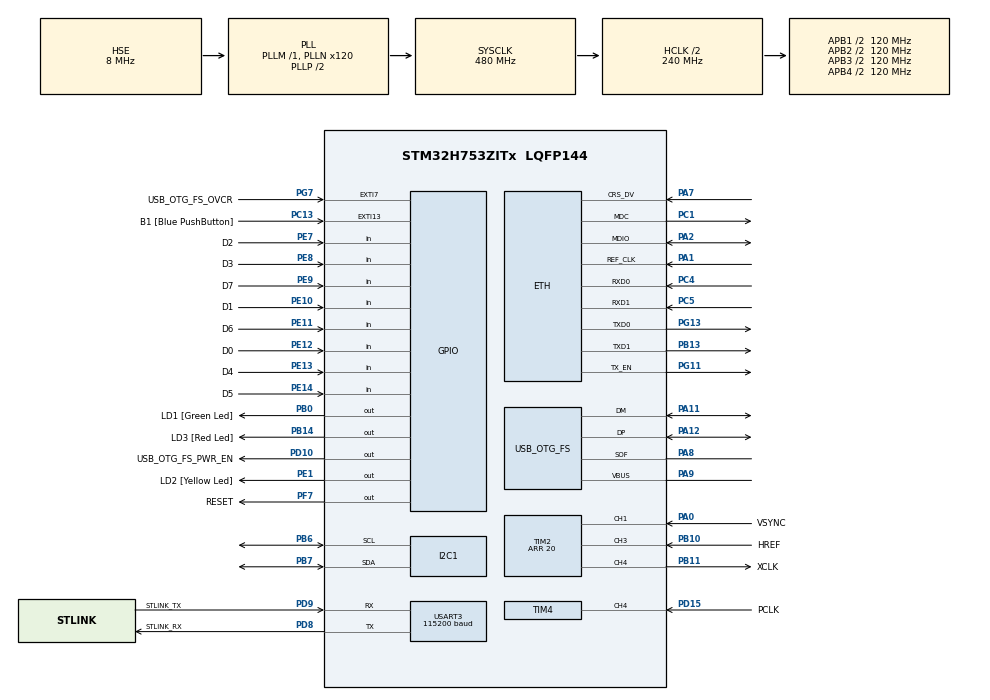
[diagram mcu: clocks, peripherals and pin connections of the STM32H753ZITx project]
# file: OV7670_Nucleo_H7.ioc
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CORTEX_M7.AccessPermission-Cortex_Memory_Protection_Unit_Region0_Settings=MPU_REGION_NO_ACCESS
CORTEX_M7.AccessPermission-Cortex_Memory_Protection_Unit_Region1_Settings=MPU_REGION_FULL_ACCESS
CORTEX_M7.AccessPermission-Cortex_Memory_Protection_Unit_Region2_Settings=MPU_REGION_FULL_ACCESS
CORTEX_M7.BaseAddress-Cortex_Memory_Protection_Unit_Region0_Settings=0x0
CORTEX_M7.BaseAddress-Cortex_Memory_Protection_Unit_Region1_Settings=0x30005000
CORTEX_M7.BaseAddress-Cortex_Memory_Protection_Unit_Region2_Settings=0x30000000
CORTEX_M7.CPU_DCache=Enabled
CORTEX_M7.CPU_ICache=Enabled
CORTEX_M7.DisableExec-Cortex_Memory_Protection_Unit_Region0_Settings=MPU_INSTRUCTION_ACCESS_DISABLE
CORTEX_M7.DisableExec-Cortex_Memory_Protection_Unit_Region1_Settings=MPU_INSTRUCTION_ACCESS_DISABLE
CORTEX_M7.DisableExec-Cortex_Memory_Protection_Unit_Region2_Settings=MPU_INSTRUCTION_ACCESS_DISABLE
CORTEX_M7.Enable-Cortex_Memory_Protection_Unit_Region0_Settings=MPU_REGION_ENABLE
CORTEX_M7.Enable-Cortex_Memory_Protection_Unit_Region1_Settings=MPU_REGION_ENABLE
CORTEX_M7.Enable-Cortex_Memory_Protection_Unit_Region2_Settings=MPU_REGION_ENABLE
CORTEX_M7.IsBufferable-Cortex_Memory_Protection_Unit_Region2_Settings=MPU_ACCESS_BUFFERABLE
CORTEX_M7.IsShareable-Cortex_Memory_Protection_Unit_Region0_Settings=MPU_ACCESS_SHAREABLE
CORTEX_M7.IsShareable-Cortex_Memory_Protection_Unit_Region2_Settings=MPU_ACCESS_SHAREABLE
CORTEX_M7.MPU_Control=MPU_PRIVILEGED_DEFAULT
CORTEX_M7.Size-Cortex_Memory_Protection_Unit_Region0_Settings=MPU_REGION_SIZE_4GB
CORTEX_M7.Size-Cortex_Memory_Protection_Unit_Region1_Settings=MPU_REGION_SIZE_16KB
CORTEX_M7.Size-Cortex_Memory_Protection_Unit_Region2_Settings=MPU_REGION_SIZE_256B
CORTEX_M7.SubRegionDisable-Cortex_Memory_Protection_Unit_Region0_Settings=0x87
CORTEX_M7.TypeExtField-Cortex_Memory_Protection_Unit_Region0_Settings=MPU_TEX_LEVEL0
CORTEX_M7.TypeExtField-Cortex_Memory_Protection_Unit_Region1_Settings=MPU_TEX_LEVEL1
ETH.ETH_RX_DESC_CNT=4
ETH.ETH_TX_DESC_CNT=4
ETH.MACAddr=00\:80\:E1\:00\:00\:00
ETH.MediaInterface=HAL_ETH_RMII_MODE
ETH.RxBuffAddress=0x30040200
ETH.RxBuffLen=1536
ETH.RxDescAddress=0x30000000
ETH.TxDescAddress=0x30000080
FREERTOS.BinarySemaphores01=OV7670BinarySemaphore,Dynamic,NULL
FREERTOS.Tasks01=defaultTask,24,1024,StartDefaultTask,Default,NULL,Dynamic,NULL,NULL;UserButtonTask,39,128,User_Button_Activity,Default,NULL,Dynamic,NULL,NULL;OV7670Task,40,128,OV7670_Image_Sensor,Default,NULL,Dynamic,NULL,NULL
FREERTOS.configCHECK_FOR_STACK_OVERFLOW=1
FREERTOS.configTICK_RATE_HZ=100
FREERTOS.configUSE_NEWLIB_REENTRANT=1
FREERTOS.configUSE_OS2_MUTEX=1
FREERTOS.configUSE_OS2_TIMER=0
I2C1.Analog_Filter=I2C_ANALOGFILTER_ENABLE
I2C1.I2C_Coeff_DF=15
I2C1.Timing=0x20303D54
LWIP.BSP.number=1
LWIP.GATEWAY_ADDRESS=192.168.008.003
LWIP.IP_ADDRESS=192.168.008.002
LWIP.LWIP_DHCP=0
LWIP.LWIP_DISABLE_TCP_SANITY_CHECKS=1
LWIP.LWIP_RAM_HEAP_POINTER=0x30005000
LWIP.MEM_SIZE=16360
LWIP.NETMASK_ADDRESS=255.255.255.000
LWIP.PBUF_POOL_BUFSIZE=640
LWIP.TCP_MSS=1460
LWIP.TCP_SND_BUF=5840
LWIP.TCP_SND_QUEUELEN=16
LWIP.Version=v2.1.2_Cube
LWIP0.BSP.STBoard=false
LWIP0.BSP.api=BSP_COMPONENT_DRIVER
LWIP0.BSP.component=LAN8742
LWIP0.BSP.instance=LAN8742
LWIP0.BSP.name=Driver_PHY
LWIP0.BSP.semaphore=S_LAN8742
LWIP0.BSP.solution=LAN8742
Mcu.Family=STM32H7
Mcu.Name=STM32H753ZITx
Mcu.Package=LQFP144
NVIC.ETH_IRQn=true\:5\:0\:true\:false\:true\:true\:true\:true\:true
NVIC.EXTI15_10_IRQn=true\:2\:0\:true\:false\:true\:false\:true\:true\:true
NVIC.PriorityGroup=NVIC_PRIORITYGROUP_4
NVIC.TIM2_IRQn=true\:1\:0\:true\:false\:true\:false\:true\:true\:true
NVIC.TIM7_IRQn=true\:15\:0\:true\:false\:true\:false\:false\:true\:true
NVIC.TimeBase=TIM7_IRQn
NVIC.TimeBaseIP=TIM7
PA0.GPIO_Label=VSYNC
PA0.GPIO_Speed=GPIO_SPEED_FREQ_VERY_HIGH
PA0.Signal=S_TIM2_CH1_ETR
PA1.GPIO_Speed=GPIO_SPEED_FREQ_VERY_HIGH
PA1.Mode=RMII
PA1.Signal=ETH_REF_CLK
PA11.Mode=Device_Only
PA11.Signal=USB_OTG_FS_DM
PA12.Mode=Device_Only
PA12.Signal=USB_OTG_FS_DP
PA13\ (JTMS/SWDIO).Mode=Trace_Asynchronous_SW
PA13\ (JTMS/SWDIO).Signal=DEBUG_JTMS-SWDIO
PA14\ (JTCK/SWCLK).Mode=Trace_Asynchronous_SW
PA14\ (JTCK/SWCLK).Signal=DEBUG_JTCK-SWCLK
PA2.GPIO_Speed=GPIO_SPEED_FREQ_VERY_HIGH
PA2.Mode=RMII
PA2.Signal=ETH_MDIO
PA7.GPIO_Speed=GPIO_SPEED_FREQ_VERY_HIGH
PA7.Mode=RMII
PA7.Signal=ETH_CRS_DV
PA8.Mode=Activate_SOF_FS
PA8.Signal=USB_OTG_FS_SOF
PA9.Mode=Activate_VBUS
PA9.Signal=USB_OTG_FS_VBUS
PB0.GPIO_Label=LD1 [Green Led]
PB0.Signal=GPIO_Output
PB10.GPIO_Label=HREF
PB10.GPIO_Speed=GPIO_SPEED_FREQ_VERY_HIGH
PB10.Signal=S_TIM2_CH3
PB11.GPIO_Label=XCLK
PB11.GPIO_Speed=GPIO_SPEED_FREQ_VERY_HIGH
PB11.Signal=S_TIM2_CH4
PB13.GPIO_Speed=GPIO_SPEED_FREQ_VERY_HIGH
PB13.Mode=RMII
PB13.Signal=ETH_TXD1
PB14.GPIO_Label=LD3 [Red Led]
PB14.Signal=GPIO_Output
PB3\ (JTDO/TRACESWO).Mode=Trace_Asynchronous_SW
PB3\ (JTDO/TRACESWO).Signal=DEBUG_JTDO-SWO
PB6.GPIO_Speed=GPIO_SPEED_FREQ_HIGH
PB6.Mode=I2C
PB6.Signal=I2C1_SCL
PB7.GPIO_Speed=GPIO_SPEED_FREQ_HIGH
PB7.Mode=I2C
PB7.Signal=I2C1_SDA
PC1.GPIO_Speed=GPIO_SPEED_FREQ_VERY_HIGH
PC1.Mode=RMII
PC1.Signal=ETH_MDC
PC13.GPIO_Label=B1 [Blue PushButton]
PC13.Signal=GPXTI13
PC14-OSC32_IN\ (OSC32_IN).Mode=LSE-External-Oscillator
PC14-OSC32_IN\ (OSC32_IN).Signal=RCC_OSC32_IN
PC15-OSC32_OUT\ (OSC32_OUT).Mode=LSE-External-Oscillator
PC15-OSC32_OUT\ (OSC32_OUT).Signal=RCC_OSC32_OUT
PC4.GPIO_Speed=GPIO_SPEED_FREQ_VERY_HIGH
PC4.Mode=RMII
PC4.Signal=ETH_RXD0
PC5.GPIO_Speed=GPIO_SPEED_FREQ_VERY_HIGH
PC5.Mode=RMII
PC5.Signal=ETH_RXD1
PD10.GPIO_Label=USB_OTG_FS_PWR_EN
PD10.Signal=GPIO_Output
PD15.GPIO_Label=PCLK
PD15.GPIO_Speed=GPIO_SPEED_FREQ_VERY_HIGH
PD15.Signal=S_TIM4_CH4
PD8.GPIO_Label=STLINK_RX
PD8.Mode=Asynchronous
PD8.Signal=USART3_TX
PD9.GPIO_Label=STLINK_TX
PD9.Mode=Asynchronous
PD9.Signal=USART3_RX
PE1.GPIO_Label=LD2 [Yellow Led]
PE1.Signal=GPIO_Output
PE10.GPIO_Label=D1
PE10.Signal=GPIO_Input
PE11.GPIO_Label=D6
PE11.Signal=GPIO_Input
PE12.GPIO_Label=D0
PE12.Signal=GPIO_Input
PE13.GPIO_Label=D4
PE13.Signal=GPIO_Input
PE14.GPIO_Label=D5
PE14.Signal=GPIO_Input
PE7.GPIO_Label=D2
PE7.Signal=GPIO_Input
PE8.GPIO_Label=D3
PE8.Signal=GPIO_Input
PE9.GPIO_Label=D7
PE9.Signal=GPIO_Input
PF7.GPIO_Label=RESET
PF7.GPIO_ModeDefaultOutputPP=GPIO_MODE_OUTPUT_OD
PF7.GPIO_PuPd=GPIO_PULLUP
PF7.GPIO_Speed=GPIO_SPEED_FREQ_MEDIUM
PF7.PinState=GPIO_PIN_SET
PF7.Signal=GPIO_Output
PG11.GPIO_Speed=GPIO_SPEED_FREQ_VERY_HIGH
PG11.Mode=RMII
PG11.Signal=ETH_TX_EN
PG13.GPIO_Speed=GPIO_SPEED_FREQ_VERY_HIGH
PG13.Mode=RMII
PG13.Signal=ETH_TXD0
PG7.GPIO_Label=USB_OTG_FS_OVCR
PG7.Signal=GPXTI7
PH0-OSC_IN\ (PH0).Mode=HSE-External-Clock-Source
PH0-OSC_IN\ (PH0).Signal=RCC_OSC_IN
PH1-OSC_OUT\ (PH1).Signal=RCC_OSC_OUT
ProjectManager.HeapSize=0x200
ProjectManager.StackSize=0x400
ProjectManager.TargetToolchain=STM32CubeIDE
RCC.ADCFreq_Value=16125000
RCC.APB1Freq_Value=120000000
RCC.APB2Freq_Value=120000000
RCC.APB3Freq_Value=120000000
RCC.APB4Freq_Value=120000000
RCC.CortexFreq_Value=480000000
RCC.D1PPRE=RCC_APB3_DIV2
RCC.D2PPRE1=RCC_APB1_DIV2
RCC.D2PPRE2=RCC_APB2_DIV2
RCC.D3PPRE=RCC_APB4_DIV2
RCC.DIVM1=1
RCC.DIVM3=2
RCC.DIVN1=120
RCC.DIVN3=48
RCC.DIVQ1=15
RCC.DIVR3=4
RCC.HCLKFreq_Value=240000000
RCC.HPRE=RCC_HCLK_DIV2
RCC.HSE_VALUE=8000000
RCC.I2C123CLockSelection=RCC_I2C123CLKSOURCE_PLL3
RCC.PLLFRACN=0
RCC.PWR_Regulator_Voltage_Scale=PWR_REGULATOR_VOLTAGE_SCALE0
RCC.SYSCLKFreq_VALUE=480000000
RCC.SYSCLKSource=RCC_SYSCLKSOURCE_PLLCLK
RCC.USBFreq_Value=64000000
SH.S_TIM2_CH1_ETR.0=TIM2_CH1,Input_Capture1_from_TI1
SH.S_TIM2_CH3.0=TIM2_CH3,Input_Capture3_from_TI3
SH.S_TIM2_CH4.0=TIM2_CH4,PWM Generation4 CH4
SH.S_TIM4_CH4.0=TIM4_CH4,Input_Capture4_from_TI4
TIM2.Channel-Input_Capture1_from_TI1=TIM_CHANNEL_1
TIM2.Channel-Input_Capture3_from_TI3=TIM_CHANNEL_3
TIM2.Channel-PWM\ Generation4\ CH4=TIM_CHANNEL_4
TIM2.ICFilter_CH1=3
TIM2.ICFilter_CH3=3
TIM2.OCMode_PWM-PWM\ Generation4\ CH4=TIM_OCMODE_PWM2
TIM2.Period=20
TIM2.Pulse-PWM\ Generation4\ CH4=10
TIM4.Channel-Input_Capture4_from_TI4=TIM_CHANNEL_4
TIM4.ICFilter_CH4=2
TIM4.Prescaler=480
USART3.AutoBaudRateEnableParam=UART_ADVFEATURE_AUTOBAUDRATE_DISABLE
USART3.BaudRate=115200
USART3.ClockPrescaler=PRESCALER_DIV1
USART3.DMADisableonRxErrorParam=ADVFEATURE_DMA_ENABLEONRXERROR
USART3.DataInvertParam=ADVFEATURE_DATAINV_DISABLE
USART3.FIFOMode=FIFOMODE_DISABLE
USART3.MSBFirstParam=ADVFEATURE_MSBFIRST_DISABLE
USART3.Mode=MODE_TX_RX
USART3.OneBitSampling=UART_ONE_BIT_SAMPLE_DISABLE
USART3.OverSampling=UART_OVERSAMPLING_16
USART3.OverrunDisableParam=ADVFEATURE_OVERRUN_ENABLE
USART3.Parity=PARITY_NONE
USART3.RXFIFOThreshold=RXFIFO_THRESHOLD_1EIGHTHFULL
USART3.RxPinLevelInvertParam=ADVFEATURE_RXINV_DISABLE
USART3.StopBits=STOPBITS_1
USART3.SwapParam=ADVFEATURE_SWAP_DISABLE
USART3.TXFIFOThreshold=TXFIFO_THRESHOLD_1EIGHTHFULL
USART3.TxPinLevelInvertParam=ADVFEATURE_TXINV_DISABLE
USART3.VirtualMode-Asynchronous=VM_ASYNC
USART3.WordLength=WORDLENGTH_8B
USB_OTG_FS.Sof_enable=ENABLE
USB_OTG_FS.VirtualMode=Device_Only
USB_OTG_FS.battery_charging_enable=ENABLE
USB_OTG_FS.low_power_enable=DISABLE
USB_OTG_FS.lpm_enable=DISABLE
USB_OTG_FS.use_dedicated_ep1=DISABLE
USB_OTG_FS.vbus_sensing_enable=ENABLE
VP_FREERTOS_VS_CMSIS_V2.Mode=CMSIS_V2
VP_LWIP_VS_Enabled.Mode=Enabled
VP_SYS_VS_tim7.Mode=TIM7
VP_TIM2_VS_ClockSourceINT.Mode=Internal
VP_TIM4_VS_ClockSourceINT.Mode=Internal
board=NUCLEO-H753ZI

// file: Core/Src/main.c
/* USER CODE BEGIN Header */
/**
  ******************************************************************************
  * @file           : main.c
  * @brief          : Main program body
  ******************************************************************************
  * @attention
  *
  * Copyright (c) 2025 STMicroelectronics.
  * All rights reserved.
  *
  * This software is licensed under terms that can be found in the LICENSE file
  * in the root directory of this software component.
  * If no LICENSE file comes with this software, it is provided AS-IS.
  *
  ******************************************************************************
  */
/* USER CODE END Header */
#include "main.h"
#include "cmsis_os.h"
#include "lwip.h"

/* USER CODE BEGIN Includes */
#include "TCP_Server.h"
/* USER CODE END Includes */

I2C_HandleTypeDef hi2c1;

TIM_HandleTypeDef htim2;

UART_HandleTypeDef huart3;

PCD_HandleTypeDef hpcd_USB_OTG_FS;

/* Definitions for defaultTask */
osThreadId_t defaultTaskHandle;
const osThreadAttr_t defaultTask_attributes = {
  .name = "defaultTask",
  .stack_size = 1024 * 4,
  .priority = (osPriority_t) osPriorityNormal,
};
/* Definitions for UserButtonTask */
osThreadId_t UserButtonTaskHandle;
const osThreadAttr_t UserButtonTask_attributes = {
  .name = "UserButtonTask",
  .stack_size = 128 * 4,
  .priority = (osPriority_t) osPriorityAboveNormal7,
};
/* Definitions for OV7670Task */
osThreadId_t OV7670TaskHandle;
const osThreadAttr_t OV7670Task_attributes = {
  .name = "OV7670Task",
  .stack_size = 128 * 4,
  .priority = (osPriority_t) osPriorityHigh,
};
/* Definitions for OV7670BinarySemaphore */
osSemaphoreId_t OV7670BinarySemaphoreHandle;
const osSemaphoreAttr_t OV7670BinarySemaphore_attributes = {
  .name = "OV7670BinarySemaphore"
};
/* USER CODE BEGIN PV */
enum USER_BUTTON_STATE User_Button_State = USR_BTN_UNPRESSED;
/* USER CODE END PV */

void SystemClock_Config(void);
static void MPU_Config(void);
static void MX_GPIO_Init(void);
static void MX_USART3_UART_Init(void);
static void MX_USB_OTG_FS_PCD_Init(void);
static void MX_TIM4_Init(void);
static void MX_TIM2_Init(void);
static void MX_I2C1_Init(void);
void StartDefaultTask(void *argument);
void User_Button_Activity(void *argument);
void OV7670_Image_Sensor(void *argument);

int main(void)
{

  /* MPU Configuration--------------------------------------------------------*/
  MPU_Config();

  /* Enable the CPU Cache */

  /* Enable I-Cache---------------------------------------------------------*/
  SCB_EnableICache();

  /* Enable D-Cache---------------------------------------------------------*/
  SCB_EnableDCache();

  /* MCU Configuration--------------------------------------------------------*/

  /* Reset of all peripherals, Initializes the Flash interface and the Systick. */
  HAL_Init();

  /* USER CODE BEGIN Init */
  //HAL_Delay(1000);
  /* USER CODE END Init */

  /* Configure the system clock */
  SystemClock_Config();

  /* USER CODE BEGIN SysInit */
  HAL_Delay(2000);
  /* USER CODE END SysInit */

  /* Initialize all configured peripherals */
  MX_GPIO_Init();
  MX_USART3_UART_Init();
  MX_USB_OTG_FS_PCD_Init();
  MX_TIM4_Init();
  MX_TIM2_Init();
  MX_I2C1_Init();
  /* USER CODE BEGIN 2 */
  LL_TIM_EnableCounter(TIM4);		// Set TIMx_CR1 CEN bit
  HAL_TIM_PWM_Start(&htim2, TIM_CHANNEL_4);
  /* USER CODE END 2 */

  /* Init scheduler */
  osKernelInitialize();

  /* Create the semaphores(s) */
  /* creation of OV7670BinarySemaphore */
  OV7670BinarySemaphoreHandle = osSemaphoreNew(1, 0, &OV7670BinarySemaphore_attributes);

  /* Create the thread(s) */
  /* creation of defaultTask */
  defaultTaskHandle = osThreadNew(StartDefaultTask, NULL, &defaultTask_attributes);

  /* creation of UserButtonTask */
  UserButtonTaskHandle = osThreadNew(User_Button_Activity, NULL, &UserButtonTask_attributes);

  /* creation of OV7670Task */
  OV7670TaskHandle = osThreadNew(OV7670_Image_Sensor, NULL, &OV7670Task_attributes);

  /* Start scheduler */
  osKernelStart();

  /* We should never get here as control is now taken by the scheduler */

  /* Infinite loop */
  while (1)
  {

  }
}

void SystemClock_Config(void)
{
  RCC_OscInitTypeDef RCC_OscInitStruct = {0};
  RCC_ClkInitTypeDef RCC_ClkInitStruct = {0};

  /** Supply configuration update enable
  */
  HAL_PWREx_ConfigSupply(PWR_LDO_SUPPLY);

  /** Configure the main internal regulator output voltage
  */
  __HAL_PWR_VOLTAGESCALING_CONFIG(PWR_REGULATOR_VOLTAGE_SCALE1);

  while(!__HAL_PWR_GET_FLAG(PWR_FLAG_VOSRDY)) {}

  __HAL_RCC_SYSCFG_CLK_ENABLE();
  __HAL_PWR_VOLTAGESCALING_CONFIG(PWR_REGULATOR_VOLTAGE_SCALE0);

  while(!__HAL_PWR_GET_FLAG(PWR_FLAG_VOSRDY)) {}

  /** Initializes the RCC Oscillators according to the specified parameters
  * in the RCC_OscInitTypeDef structure.
  */
  RCC_OscInitStruct.OscillatorType = RCC_OSCILLATORTYPE_HSE;
  RCC_OscInitStruct.HSEState = RCC_HSE_BYPASS;
  RCC_OscInitStruct.PLL.PLLState = RCC_PLL_ON;
  RCC_OscInitStruct.PLL.PLLSource = RCC_PLLSOURCE_HSE;
  RCC_OscInitStruct.PLL.PLLM = 1;
  RCC_OscInitStruct.PLL.PLLN = 120;
  RCC_OscInitStruct.PLL.PLLP = 2;
  RCC_OscInitStruct.PLL.PLLQ = 15;
  RCC_OscInitStruct.PLL.PLLR = 2;
  RCC_OscInitStruct.PLL.PLLRGE = RCC_PLL1VCIRANGE_3;
  RCC_OscInitStruct.PLL.PLLVCOSEL = RCC_PLL1VCOWIDE;
  RCC_OscInitStruct.PLL.PLLFRACN = 0;
  if (HAL_RCC_OscConfig(&RCC_OscInitStruct) != HAL_OK)
  {
    Error_Handler();
  }

  /** Initializes the CPU, AHB and APB buses clocks
  */
  RCC_ClkInitStruct.ClockType = RCC_CLOCKTYPE_HCLK|RCC_CLOCKTYPE_SYSCLK
                              |RCC_CLOCKTYPE_PCLK1|RCC_CLOCKTYPE_PCLK2
                              |RCC_CLOCKTYPE_D3PCLK1|RCC_CLOCKTYPE_D1PCLK1;
  RCC_ClkInitStruct.SYSCLKSource = RCC_SYSCLKSOURCE_PLLCLK;
  RCC_ClkInitStruct.SYSCLKDivider = RCC_SYSCLK_DIV1;
  RCC_ClkInitStruct.AHBCLKDivider = RCC_HCLK_DIV2;
  RCC_ClkInitStruct.APB3CLKDivider = RCC_APB3_DIV2;
  RCC_ClkInitStruct.APB1CLKDivider = RCC_APB1_DIV2;
  RCC_ClkInitStruct.APB2CLKDivider = RCC_APB2_DIV2;
  RCC_ClkInitStruct.APB4CLKDivider = RCC_APB4_DIV2;

  if (HAL_RCC_ClockConfig(&RCC_ClkInitStruct, FLASH_LATENCY_4) != HAL_OK)
  {
    Error_Handler();
  }
}

static void MX_I2C1_Init(void)
{

  hi2c1.Instance = I2C1;
  hi2c1.Init.Timing = 0x20303D54;
  hi2c1.Init.OwnAddress1 = 0;
  hi2c1.Init.AddressingMode = I2C_ADDRESSINGMODE_7BIT;
  hi2c1.Init.DualAddressMode = I2C_DUALADDRESS_DISABLE;
  hi2c1.Init.OwnAddress2 = 0;
  hi2c1.Init.OwnAddress2Masks = I2C_OA2_NOMASK;
  hi2c1.Init.GeneralCallMode = I2C_GENERALCALL_DISABLE;
  hi2c1.Init.NoStretchMode = I2C_NOSTRETCH_DISABLE;
  if (HAL_I2C_Init(&hi2c1) != HAL_OK)
  {
    Error_Handler();
  }

  /** Configure Analogue filter
  */
  if (HAL_I2CEx_ConfigAnalogFilter(&hi2c1, I2C_ANALOGFILTER_ENABLE) != HAL_OK)
  {
    Error_Handler();
  }

  /** Configure Digital filter
  */
  if (HAL_I2CEx_ConfigDigitalFilter(&hi2c1, 15) != HAL_OK)
  {
    Error_Handler();
  }

}

static void MX_TIM2_Init(void)
{

  TIM_ClockConfigTypeDef sClockSourceConfig = {0};
  TIM_MasterConfigTypeDef sMasterConfig = {0};
  TIM_IC_InitTypeDef sConfigIC = {0};
  TIM_OC_InitTypeDef sConfigOC = {0};

  htim2.Instance = TIM2;
  htim2.Init.Prescaler = 0;
  htim2.Init.CounterMode = TIM_COUNTERMODE_UP;
  htim2.Init.Period = 20;
  htim2.Init.ClockDivision = TIM_CLOCKDIVISION_DIV1;
  htim2.Init.AutoReloadPreload = TIM_AUTORELOAD_PRELOAD_DISABLE;
  if (HAL_TIM_Base_Init(&htim2) != HAL_OK)
  {
    Error_Handler();
  }
  sClockSourceConfig.ClockSource = TIM_CLOCKSOURCE_INTERNAL;
  if (HAL_TIM_ConfigClockSource(&htim2, &sClockSourceConfig) != HAL_OK)
  {
    Error_Handler();
  }
  if (HAL_TIM_IC_Init(&htim2) != HAL_OK)
  {
    Error_Handler();
  }
  if (HAL_TIM_PWM_Init(&htim2) != HAL_OK)
  {
    Error_Handler();
  }
  sMasterConfig.MasterOutputTrigger = TIM_TRGO_RESET;
  sMasterConfig.MasterSlaveMode = TIM_MASTERSLAVEMODE_DISABLE;
  if (HAL_TIMEx_MasterConfigSynchronization(&htim2, &sMasterConfig) != HAL_OK)
  {
    Error_Handler();
  }
  sConfigIC.ICPolarity = TIM_INPUTCHANNELPOLARITY_RISING;
  sConfigIC.ICSelection = TIM_ICSELECTION_DIRECTTI;
  sConfigIC.ICPrescaler = TIM_ICPSC_DIV1;
  sConfigIC.ICFilter = 3;
  if (HAL_TIM_IC_ConfigChannel(&htim2, &sConfigIC, TIM_CHANNEL_1) != HAL_OK)
  {
    Error_Handler();
  }
  if (HAL_TIM_IC_ConfigChannel(&htim2, &sConfigIC, TIM_CHANNEL_3) != HAL_OK)
  {
    Error_Handler();
  }
  sConfigOC.OCMode = TIM_OCMODE_PWM2;
  sConfigOC.Pulse = 10;
  sConfigOC.OCPolarity = TIM_OCPOLARITY_HIGH;
  sConfigOC.OCFastMode = TIM_OCFAST_DISABLE;
  if (HAL_TIM_PWM_ConfigChannel(&htim2, &sConfigOC, TIM_CHANNEL_4) != HAL_OK)
  {
    Error_Handler();
  }
  /* USER CODE BEGIN TIM2_Init 2 */
  htim2.Instance->CR1 |= TIM_CR1_UDIS;	// disable update event generation
  HAL_TIM_RegisterCallback(&htim2, HAL_TIM_IC_CAPTURE_CB_ID, OV7670_Sync_Output_Detection);
  /* USER CODE END TIM2_Init 2 */
  HAL_TIM_MspPostInit(&htim2);

}

static void MX_TIM4_Init(void)
{

  LL_TIM_InitTypeDef TIM_InitStruct = {0};

  LL_GPIO_InitTypeDef GPIO_InitStruct = {0};

  /* Peripheral clock enable */
  LL_APB1_GRP1_EnableClock(LL_APB1_GRP1_PERIPH_TIM4);

  LL_AHB4_GRP1_EnableClock(LL_AHB4_GRP1_PERIPH_GPIOD);
  /**TIM4 GPIO Configuration
  PD15   ------> TIM4_CH4
  */
  GPIO_InitStruct.Pin = LL_GPIO_PIN_15;
  GPIO_InitStruct.Mode = LL_GPIO_MODE_ALTERNATE;
  GPIO_InitStruct.Speed = LL_GPIO_SPEED_FREQ_VERY_HIGH;
  GPIO_InitStruct.OutputType = LL_GPIO_OUTPUT_PUSHPULL;
  GPIO_InitStruct.Pull = LL_GPIO_PULL_NO;
  GPIO_InitStruct.Alternate = LL_GPIO_AF_2;
  LL_GPIO_Init(GPIOD, &GPIO_InitStruct);

  TIM_InitStruct.Prescaler = 480;
  TIM_InitStruct.CounterMode = LL_TIM_COUNTERMODE_UP;
  TIM_InitStruct.Autoreload = 65535;
  TIM_InitStruct.ClockDivision = LL_TIM_CLOCKDIVISION_DIV1;
  LL_TIM_Init(TIM4, &TIM_InitStruct);
  LL_TIM_DisableARRPreload(TIM4);
  LL_TIM_SetClockSource(TIM4, LL_TIM_CLOCKSOURCE_INTERNAL);
  LL_TIM_SetTriggerOutput(TIM4, LL_TIM_TRGO_RESET);
  LL_TIM_DisableMasterSlaveMode(TIM4);
  LL_TIM_IC_SetActiveInput(TIM4, LL_TIM_CHANNEL_CH4, LL_TIM_ACTIVEINPUT_DIRECTTI);
  LL_TIM_IC_SetPrescaler(TIM4, LL_TIM_CHANNEL_CH4, LL_TIM_ICPSC_DIV1);
  LL_TIM_IC_SetFilter(TIM4, LL_TIM_CHANNEL_CH4, LL_TIM_IC_FILTER_FDIV1_N4);
  LL_TIM_IC_SetPolarity(TIM4, LL_TIM_CHANNEL_CH4, LL_TIM_IC_POLARITY_RISING);
  /* USER CODE BEGIN TIM4_Init 2 */
  LL_TIM_DisableUpdateEvent(TIM4);
  /* USER CODE END TIM4_Init 2 */

}

static void MX_USART3_UART_Init(void)
{

  huart3.Instance = USART3;
  huart3.Init.BaudRate = 115200;
  huart3.Init.WordLength = UART_WORDLENGTH_8B;
  huart3.Init.StopBits = UART_STOPBITS_1;
  huart3.Init.Parity = UART_PARITY_NONE;
  huart3.Init.Mode = UART_MODE_TX_RX;
  huart3.Init.HwFlowCtl = UART_HWCONTROL_NONE;
  huart3.Init.OverSampling = UART_OVERSAMPLING_16;
  huart3.Init.OneBitSampling = UART_ONE_BIT_SAMPLE_DISABLE;
  huart3.Init.ClockPrescaler = UART_PRESCALER_DIV1;
  huart3.AdvancedInit.AdvFeatureInit = UART_ADVFEATURE_NO_INIT;
  if (HAL_UART_Init(&huart3) != HAL_OK)
  {
    Error_Handler();
  }
  if (HAL_UARTEx_SetTxFifoThreshold(&huart3, UART_TXFIFO_THRESHOLD_1_8) != HAL_OK)
  {
    Error_Handler();
  }
  if (HAL_UARTEx_SetRxFifoThreshold(&huart3, UART_RXFIFO_THRESHOLD_1_8) != HAL_OK)
  {
    Error_Handler();
  }
  if (HAL_UARTEx_DisableFifoMode(&huart3) != HAL_OK)
  {
    Error_Handler();
  }

}

static void MX_USB_OTG_FS_PCD_Init(void)
{

  hpcd_USB_OTG_FS.Instance = USB_OTG_FS;
  hpcd_USB_OTG_FS.Init.dev_endpoints = 9;
  hpcd_USB_OTG_FS.Init.speed = PCD_SPEED_FULL;
  hpcd_USB_OTG_FS.Init.dma_enable = DISABLE;
  hpcd_USB_OTG_FS.Init.phy_itface = PCD_PHY_EMBEDDED;
  hpcd_USB_OTG_FS.Init.Sof_enable = ENABLE;
  hpcd_USB_OTG_FS.Init.low_power_enable = DISABLE;
  hpcd_USB_OTG_FS.Init.lpm_enable = DISABLE;
  hpcd_USB_OTG_FS.Init.battery_charging_enable = ENABLE;
  hpcd_USB_OTG_FS.Init.vbus_sensing_enable = ENABLE;
  hpcd_USB_OTG_FS.Init.use_dedicated_ep1 = DISABLE;
  if (HAL_PCD_Init(&hpcd_USB_OTG_FS) != HAL_OK)
  {
    Error_Handler();
  }

}

static void MX_GPIO_Init(void)
{
  GPIO_InitTypeDef GPIO_InitStruct = {0};

  /* GPIO Ports Clock Enable */
  __HAL_RCC_GPIOC_CLK_ENABLE();
  __HAL_RCC_GPIOF_CLK_ENABLE();
  __HAL_RCC_GPIOH_CLK_ENABLE();
  __HAL_RCC_GPIOA_CLK_ENABLE();
  __HAL_RCC_GPIOB_CLK_ENABLE();
  __HAL_RCC_GPIOE_CLK_ENABLE();
  __HAL_RCC_GPIOD_CLK_ENABLE();
  __HAL_RCC_GPIOG_CLK_ENABLE();

  /*Configure GPIO pin Output Level */
  HAL_GPIO_WritePin(RESET_GPIO_Port, RESET_Pin, GPIO_PIN_SET);

  /*Configure GPIO pin Output Level */
  HAL_GPIO_WritePin(GPIOB, LD1_Pin|LD3_Pin, GPIO_PIN_RESET);

  /*Configure GPIO pin Output Level */
  HAL_GPIO_WritePin(USB_OTG_FS_PWR_EN_GPIO_Port, USB_OTG_FS_PWR_EN_Pin, GPIO_PIN_RESET);

  /*Configure GPIO pin Output Level */
  HAL_GPIO_WritePin(LD2_GPIO_Port, LD2_Pin, GPIO_PIN_RESET);

  /*Configure GPIO pin : B1_Pin */
  GPIO_InitStruct.Pin = B1_Pin;
  GPIO_InitStruct.Mode = GPIO_MODE_IT_RISING;
  GPIO_InitStruct.Pull = GPIO_NOPULL;
  HAL_GPIO_Init(B1_GPIO_Port, &GPIO_InitStruct);

  /*Configure GPIO pin : RESET_Pin */
  GPIO_InitStruct.Pin = RESET_Pin;
  GPIO_InitStruct.Mode = GPIO_MODE_OUTPUT_OD;
  GPIO_InitStruct.Pull = GPIO_PULLUP;
  GPIO_InitStruct.Speed = GPIO_SPEED_FREQ_MEDIUM;
  HAL_GPIO_Init(RESET_GPIO_Port, &GPIO_InitStruct);

  /*Configure GPIO pins : LD1_Pin LD3_Pin */
  GPIO_InitStruct.Pin = LD1_Pin|LD3_Pin;
  GPIO_InitStruct.Mode = GPIO_MODE_OUTPUT_PP;
  GPIO_InitStruct.Pull = GPIO_NOPULL;
  GPIO_InitStruct.Speed = GPIO_SPEED_FREQ_LOW;
  HAL_GPIO_Init(GPIOB, &GPIO_InitStruct);

  /*Configure GPIO pins : D2_Pin D3_Pin D7_Pin D1_Pin
                           D6_Pin D0_Pin D4_Pin D5_Pin */
  GPIO_InitStruct.Pin = D2_Pin|D3_Pin|D7_Pin|D1_Pin
                          |D6_Pin|D0_Pin|D4_Pin|D5_Pin;
  GPIO_InitStruct.Mode = GPIO_MODE_INPUT;
  GPIO_InitStruct.Pull = GPIO_NOPULL;
  HAL_GPIO_Init(GPIOE, &GPIO_InitStruct);

  /*Configure GPIO pin : USB_OTG_FS_PWR_EN_Pin */
  GPIO_InitStruct.Pin = USB_OTG_FS_PWR_EN_Pin;
  GPIO_InitStruct.Mode = GPIO_MODE_OUTPUT_PP;
  GPIO_InitStruct.Pull = GPIO_NOPULL;
  GPIO_InitStruct.Speed = GPIO_SPEED_FREQ_LOW;
  HAL_GPIO_Init(USB_OTG_FS_PWR_EN_GPIO_Port, &GPIO_InitStruct);

  /*Configure GPIO pin : USB_OTG_FS_OVCR_Pin */
  GPIO_InitStruct.Pin = USB_OTG_FS_OVCR_Pin;
  GPIO_InitStruct.Mode = GPIO_MODE_IT_RISING;
  GPIO_InitStruct.Pull = GPIO_NOPULL;
  HAL_GPIO_Init(USB_OTG_FS_OVCR_GPIO_Port, &GPIO_InitStruct);

  /*Configure GPIO pin : LD2_Pin */
  GPIO_InitStruct.Pin = LD2_Pin;
  GPIO_InitStruct.Mode = GPIO_MODE_OUTPUT_PP;
  GPIO_InitStruct.Pull = GPIO_NOPULL;
  GPIO_InitStruct.Speed = GPIO_SPEED_FREQ_LOW;
  HAL_GPIO_Init(LD2_GPIO_Port, &GPIO_InitStruct);

  /* EXTI interrupt init*/
  HAL_NVIC_SetPriority(EXTI15_10_IRQn, 2, 0);
  HAL_NVIC_EnableIRQ(EXTI15_10_IRQn);

}

/* USER CODE BEGIN 4 */
void Delay_us_Rough(uint16_t delay_us)
{
	uint16_t cycle;
	uint32_t one_us = SystemCoreClock / 1000000;
	uint32_t count;

	for(cycle = 0; cycle < delay_us; cycle++){
		for(count = 0; count < one_us; count++){
			// This should produce ~1 us or more delay
		}
	}
}
/* USER CODE END 4 */

void StartDefaultTask(void *argument)
{
  /* init code for LWIP */
  MX_LWIP_Init();
  /* USER CODE BEGIN 5 */
  TCP_Server_Init();
  LL_GPIO_TogglePin(LD1_GPIO_Port, LD1_Pin);
  /* Infinite loop */
  for(;;)
  {
	//HAL_GPIO_TogglePin(LD1_GPIO_Port, LD1_Pin);	// for debug breakpoint purpose only
	//osThreadTerminate(NULL);	// delete this task
    osThreadYield();
  }
  /* USER CODE END 5 */
}

void User_Button_Activity(void *argument)
{
  /* USER CODE BEGIN User_Button_Activity */
  /* Infinite loop */
  for(;;)
  {
	switch(User_Button_State){
	case USR_BTN_UNPRESSED:	// do nothing (Look at Sch, PC13 pulled down by R64 100k res, so it'd be logic 0 at this moment)
							osDelay( pdMS_TO_TICKS(50) );
							break;
	case DEBOUNCE_UNPRESSED:	HAL_Delay(100);
								if(HAL_GPIO_ReadPin(B1_GPIO_Port, B1_Pin) == GPIO_PIN_SET){	// Check if PC13 is really pulled high
									LL_GPIO_TogglePin(LD2_GPIO_Port, LD2_Pin);
									User_Button_State = USR_BTN_PRESSED;
								} else {	User_Button_State = USR_BTN_UNPRESSED;	}	// go back to previous state
								break;
	case USR_BTN_PRESSED:	// if user btn is pressed, PC13 pin should be pulled high to logic 1 by R74 330Ohm res
							if(HAL_GPIO_ReadPin(B1_GPIO_Port, B1_Pin) == GPIO_PIN_RESET){	// Check if user button unpressed/released
								User_Button_State = DEBOUNCE_PRESSED;
							}
							break;
	case DEBOUNCE_PRESSED:	HAL_Delay(100);
							if(HAL_GPIO_ReadPin(B1_GPIO_Port, B1_Pin) == GPIO_PIN_RESET){
								User_Button_State = USR_BTN_UNPRESSED;
								osSemaphoreRelease(OV7670BinarySemaphoreHandle);	// give the semaphore
							} else {	User_Button_State = USR_BTN_PRESSED;	}	// go back to previous state
							break;
	default:	User_Button_State = USR_BTN_UNPRESSED;
				break;
	}
  }
  /* USER CODE END User_Button_Activity */
}

void OV7670_Image_Sensor(void *argument)
{
  /* USER CODE BEGIN OV7670_Image_Sensor */
  /* Infinite loop */
  for(;;)
  {
    switch(OV7670_State){
	case IMG_SENSOR_STOP:
		OV7670_Init_Pixel_Array();
		osSemaphoreAcquire(OV7670BinarySemaphoreHandle, osWaitForever);		// wait for semaphore passed
		OV7670_State = IMG_SENSOR_INIT;
		break;
	case IMG_SENSOR_INIT:
		if(OV7670_Init_Setting() == false){
			OV7670_State = IMG_SENSOR_STOP;
			break;
		}
		HAL_TIM_IC_Start_IT(&htim2, TIM_CHANNEL_1);	// Enable Input Capture for VSYNC pin
		OV7670_State = IMG_SENSOR_WAIT_VSYNC;
		break;
	case IMG_SENSOR_WAIT_VSYNC:
		break;
	case IMG_SENSOR_VSYNC:
		vs_count++;
		if(vs_count <= 1){		// Skip the first frame when the new setting just applied
			OV7670_State = IMG_SENSOR_WAIT_VSYNC;
			break;
		}
		HAL_TIM_IC_Start_IT(&htim2, TIM_CHANNEL_3);	// Enable Input Capture for HREF pin
		OV7670_State = IMG_SENSOR_WAIT_HREF;
		hs_count = 0;
		break;
	case IMG_SENSOR_WAIT_HREF:
		break;
	case IMG_SENSOR_HREF:
		pclk_count = 0;
		LL_TIM_CC_EnableChannel(TIM4, LL_TIM_CHANNEL_CH4);
		OV7670_State = IMG_SENSOR_PCLK;
		break;
	case IMG_SENSOR_PCLK:
		do {
			if(LL_TIM_IsActiveFlag_CC4(TIM4) == 1UL){
				LL_TIM_ClearFlag_CC4(TIM4);
				OV7670_Grab_Pixel_Byte_Output();		// Grab it!
				pclk_count++;
			}
		} while(LL_GPIO_IsInputPinSet(HREF_GPIO_Port, HREF_Pin) == 1UL);

		OV7670_Grab_Pixel_Byte_Output();		// Grab the last one!

		// hs_count should be incremented after pixels grab due to used as pix_array row index
		hs_count++;

		LL_TIM_CC_DisableChannel(TIM4, LL_TIM_CHANNEL_CH4);
		LL_TIM_ClearFlag_CC4(TIM4);
		OV7670_State = IMG_SENSOR_WAIT_HREF;
		break;
	case IMG_SENSOR_COMPLETE:
		HAL_TIM_IC_Stop_IT(&htim2, TIM_CHANNEL_1);
		HAL_TIM_IC_Stop_IT(&htim2, TIM_CHANNEL_3);

		LL_TIM_CC_DisableChannel(TIM4, LL_TIM_CHANNEL_CH4);
		LL_TIM_ClearFlag_CC4(TIM4);

		LL_GPIO_TogglePin(LD3_GPIO_Port, LD3_Pin);
		osSemaphoreAcquire(OV7670BinarySemaphoreHandle, osWaitForever);		// wait for semaphore passed
		OV7670_State = IMG_SENSOR_RESTART;
		break;
	case IMG_SENSOR_RESTART:
		HAL_TIM_IC_Start_IT(&htim2, TIM_CHANNEL_1);	// Enable Input Capture for VSYNC pin
		OV7670_State = IMG_SENSOR_WAIT_VSYNC;
		break;
	default:
		break;
	}
  }
  /* USER CODE END OV7670_Image_Sensor */
}

 /* MPU Configuration */

void MPU_Config(void)
{
  MPU_Region_InitTypeDef MPU_InitStruct = {0};

  /* Disables the MPU */
  HAL_MPU_Disable();

  /** Initializes and configures the Region and the memory to be protected
  */
  MPU_InitStruct.Enable = MPU_REGION_ENABLE;
  MPU_InitStruct.Number = MPU_REGION_NUMBER0;
  MPU_InitStruct.BaseAddress = 0x0;
  MPU_InitStruct.Size = MPU_REGION_SIZE_4GB;
  MPU_InitStruct.SubRegionDisable = 0x87;
  MPU_InitStruct.TypeExtField = MPU_TEX_LEVEL0;
  MPU_InitStruct.AccessPermission = MPU_REGION_NO_ACCESS;
  MPU_InitStruct.DisableExec = MPU_INSTRUCTION_ACCESS_DISABLE;
  MPU_InitStruct.IsShareable = MPU_ACCESS_SHAREABLE;
  MPU_InitStruct.IsCacheable = MPU_ACCESS_NOT_CACHEABLE;
  MPU_InitStruct.IsBufferable = MPU_ACCESS_NOT_BUFFERABLE;

  HAL_MPU_ConfigRegion(&MPU_InitStruct);

  /** Initializes and configures the Region and the memory to be protected
  */
  MPU_InitStruct.Number = MPU_REGION_NUMBER1;
  MPU_InitStruct.BaseAddress = 0x30005000;
  MPU_InitStruct.Size = MPU_REGION_SIZE_16KB;
  MPU_InitStruct.SubRegionDisable = 0x0;
  MPU_InitStruct.TypeExtField = MPU_TEX_LEVEL1;
  MPU_InitStruct.AccessPermission = MPU_REGION_FULL_ACCESS;
  MPU_InitStruct.IsShareable = MPU_ACCESS_NOT_SHAREABLE;

  HAL_MPU_ConfigRegion(&MPU_InitStruct);

  /** Initializes and configures the Region and the memory to be protected
  */
  MPU_InitStruct.Number = MPU_REGION_NUMBER2;
  MPU_InitStruct.BaseAddress = 0x30000000;
  MPU_InitStruct.Size = MPU_REGION_SIZE_256B;
  MPU_InitStruct.TypeExtField = MPU_TEX_LEVEL0;
  MPU_InitStruct.IsShareable = MPU_ACCESS_SHAREABLE;
  MPU_InitStruct.IsBufferable = MPU_ACCESS_BUFFERABLE;

  HAL_MPU_ConfigRegion(&MPU_InitStruct);
  /* Enables the MPU */
  HAL_MPU_Enable(MPU_PRIVILEGED_DEFAULT);

}

void HAL_TIM_PeriodElapsedCallback(TIM_HandleTypeDef *htim)
{
  if (htim->Instance == TIM7) {
    HAL_IncTick();
  }
}

void Error_Handler(void)
{
  __disable_irq();
  while (1)
  {
  }
}
